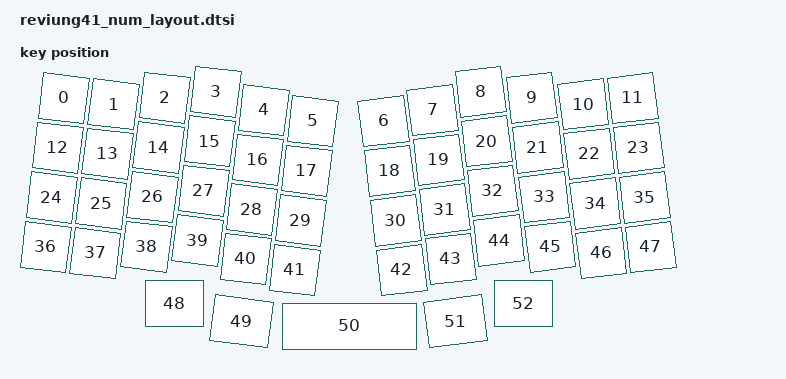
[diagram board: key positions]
#include <physical_layouts.dtsi>

/ {
    reviung41_num_layout: reviung41_num_layout {
        compatible = "zmk,physical-layout";
        display-name = "reviung41#";

        kscan = <&kscan_0>;
        transform = <&matrix_transform_0>;

        keys  //                     w   h    x    y     rot    rx    ry
            = <&key_physical_attrs 100 100    0   50     700   400   335>
            , <&key_physical_attrs 100 100  100   50     700   400   335>
            , <&key_physical_attrs 100 100  200   25     700   400   335>
            , <&key_physical_attrs 100 100  300    0     700   400   335>
            , <&key_physical_attrs 100 100  400   25     700   400   335>
            , <&key_physical_attrs 100 100  500   35     700   400   335>
            , <&key_physical_attrs 100 100  700   35  (-700)   900   335>
            , <&key_physical_attrs 100 100  800   25  (-700)   900   335>
            , <&key_physical_attrs 100 100  900    0  (-700)   900   335>
            , <&key_physical_attrs 100 100 1000   25  (-700)   900   335>
            , <&key_physical_attrs 100 100 1100   50  (-700)   900   335>
            , <&key_physical_attrs 100 100 1200   50  (-700)   900   335>
            , <&key_physical_attrs 100 100    0  150     700   400   335>
            , <&key_physical_attrs 100 100  100  150     700   400   335>
            , <&key_physical_attrs 100 100  200  125     700   400   335>
            , <&key_physical_attrs 100 100  300  100     700   400   335>
            , <&key_physical_attrs 100 100  400  125     700   400   335>
            , <&key_physical_attrs 100 100  500  135     700   400   335>
            , <&key_physical_attrs 100 100  700  135  (-700)   900   335>
            , <&key_physical_attrs 100 100  800  125  (-700)   900   335>
            , <&key_physical_attrs 100 100  900  100  (-700)   900   335>
            , <&key_physical_attrs 100 100 1000  125  (-700)   900   335>
            , <&key_physical_attrs 100 100 1100  150  (-700)   900   335>
            , <&key_physical_attrs 100 100 1200  150  (-700)   900   335>
            , <&key_physical_attrs 100 100    0  250     700   400   335>
            , <&key_physical_attrs 100 100  100  250     700   400   335>
            , <&key_physical_attrs 100 100  200  225     700   400   335>
            , <&key_physical_attrs 100 100  300  200     700   400   335>
            , <&key_physical_attrs 100 100  400  225     700   400   335>
            , <&key_physical_attrs 100 100  500  235     700   400   335>
            , <&key_physical_attrs 100 100  700  235  (-700)   900   335>
            , <&key_physical_attrs 100 100  800  225  (-700)   900   335>
            , <&key_physical_attrs 100 100  900  200  (-700)   900   335>
            , <&key_physical_attrs 100 100 1000  225  (-700)   900   335>
            , <&key_physical_attrs 100 100 1100  250  (-700)   900   335>
            , <&key_physical_attrs 100 100 1200  250  (-700)   900   335>
            , <&key_physical_attrs 100 100    0  350     700   400   335>
            , <&key_physical_attrs 100 100  100  350     700   400   335>
            , <&key_physical_attrs 100 100  200  325     700   400   335>
            , <&key_physical_attrs 100 100  300  300     700   400   335>
            , <&key_physical_attrs 100 100  400  325     700   400   335>
            , <&key_physical_attrs 100 100  500  335     700   400   335>
            , <&key_physical_attrs 100 100  700  335  (-700)   900   335>
            , <&key_physical_attrs 100 100  800  325  (-700)   900   335>
            , <&key_physical_attrs 100 100  900  300  (-700)   900   335>
            , <&key_physical_attrs 100 100 1000  325  (-700)   900   335>
            , <&key_physical_attrs 100 100 1100  350  (-700)   900   335>
            , <&key_physical_attrs 100 100 1200  350  (-700)   900   335>
            , <&key_physical_attrs 125 100  240  420       0     0     0>
            , <&key_physical_attrs 125 100  395  462     700   500   335>
            , <&key_physical_attrs 275 100  515  465       0     0     0>
            , <&key_physical_attrs 125 100  780  473  (-700)   710   335>
            , <&key_physical_attrs 125 100  938  420       0     0     0>
            ;
    };
};
